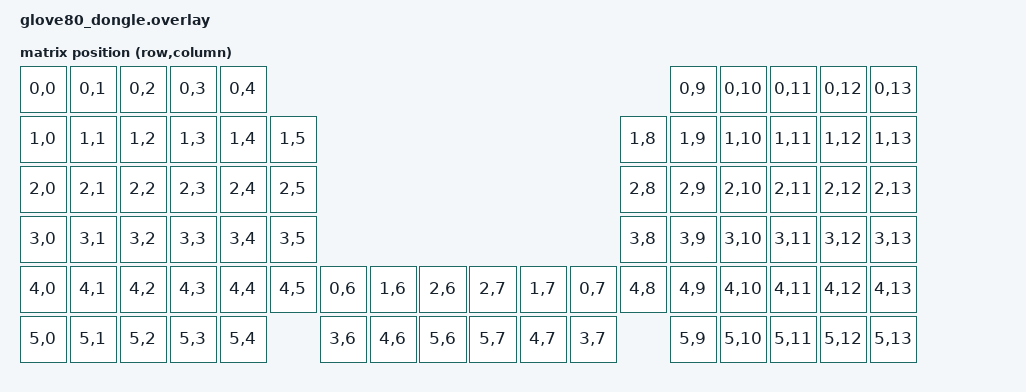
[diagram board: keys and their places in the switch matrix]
#include <dt-bindings/zmk/matrix_transform.h>
#include <dt-bindings/led/led.h>

/ {
    physical_layout0: physical_layout_0 {
        compatible = "zmk,physical-layout";
        display-name = "Default Layout";
        transform = <&default_transform>;
    };

    chosen {
        zmk,kscan = &mock_kscan;
        zmk,physical-layout = &physical_layout0;
        zmk,underglow = &dummy_led_strip;
        zmk,underglow-indicators = &underglow_indicators;
    };

    mock_kscan: mock_kscan_0 {
        compatible = "zmk,kscan-mock";
        columns = <0>;
        rows = <0>;
        events = <0>;
    };

    /* Dummy LED strip for central dongle RGB coordination */
    dummy_led_strip: ws2812_coordinator {
        compatible = "worldsemi,ws2812-spi";
        /* Minimal configuration for coordination only */
        reg = <0>; /* Required for SPI binding */
        chain-length = <80>; /* Combined LEDs from both halves */
        /* No actual SPI hardware - just for coordination */
    };


    default_transform: keymap_transform_0 {
        compatible = "zmk,matrix-transform";
        columns = <14>;
        rows = <6>;
        map = <
            RC(0,0) RC(0,1) RC(0,2) RC(0,3) RC(0,4)                                                                    RC(0,9) RC(0,10) RC(0,11) RC(0,12) RC(0,13)
            RC(1,0) RC(1,1) RC(1,2) RC(1,3) RC(1,4) RC(1,5)                                                    RC(1,8) RC(1,9) RC(1,10) RC(1,11) RC(1,12) RC(1,13)
            RC(2,0) RC(2,1) RC(2,2) RC(2,3) RC(2,4) RC(2,5)                                                    RC(2,8) RC(2,9) RC(2,10) RC(2,11) RC(2,12) RC(2,13)
            RC(3,0) RC(3,1) RC(3,2) RC(3,3) RC(3,4) RC(3,5)                                                    RC(3,8) RC(3,9) RC(3,10) RC(3,11) RC(3,12) RC(3,13)
            RC(4,0) RC(4,1) RC(4,2) RC(4,3) RC(4,4) RC(4,5) RC(0,6) RC(1,6) RC(2,6)   RC(2,7) RC(1,7)  RC(0,7) RC(4,8) RC(4,9) RC(4,10) RC(4,11) RC(4,12) RC(4,13)
            RC(5,0) RC(5,1) RC(5,2) RC(5,3) RC(5,4)         RC(3,6) RC(4,6) RC(5,6)   RC(5,7) RC(4,7)  RC(3,7)         RC(5,9) RC(5,10) RC(5,11) RC(5,12) RC(5,13)
        >;
    };

    underglow-layer {
        compatible = "zmk,underglow-layer";
        /* Combined pixel lookup for both halves: LH (0-39) + RH (40-79) */
        pixel-lookup = <52>, <53>, <54>, <69>, <70>, <71>, <15>, <27>, <39>, <51>, <4>,  <14>, <26>, <38>,
                    <50>, <68>, <3>,  <13>, <25>, <37>, <49>, <67>, <2>,  <12>, <24>, <36>, <48>, <66>,
                    <1>,  <11>, <23>, <35>, <47>, <65>, <0>,  <10>, <22>, <34>, <46>, <64>,
                    /* Right hand pixels (offset by 40) */
                    <97>, <96>, <95>, <114>, <113>, <112>, <56>, <68>, <80>, <98>, <45>, <57>, <69>, <81>,
                    <99>, <115>, <46>, <58>, <70>, <82>, <100>, <116>, <47>, <59>, <71>, <83>, <101>, <117>,
                    <48>, <60>, <72>, <84>, <102>, <118>, <49>, <61>, <73>, <85>, <103>, <119>;
    };

    /*
      Combined MoErgo LEDs (40 per half, 80 total)

      Left Half (0-39):                     Right Half (40-79):
      34 28 22 16 10                        34 28 22 16 10
      35 29 23 17 11 6                      35 29 23 17 11 6
      36 30 24 18 12 7                      36 30 24 18 12 7
      37 31 25 19 13 8                      37 31 25 19 13 8
      38 32 26 20 14 9                      38 32 26 20 14 9
      39 33 27 21 15                        39 33 27 21 15
                    0 1 2                              0 1 2
                    3 4 5                              3 4 5

      Central dongle coordinates both halves as a single 80-LED strip.
    */
    underglow_indicators: underglow-indicators {
        compatible = "zmk,underglow-indicators";
        layer-state = <35 29 23 17 11 6>; /* Left half layer indicators (0-39) */
        bat-lhs     = <36 30 24 18 12 7>; /* Left half battery (0-39) */
        bat-rhs     = <76 77 78 79 80 81>; /* Right half battery (40-79, offset by 40) */
        capslock    = <22>;
        numlock     = <16>;
        scrolllock  = <10>;
        ble-state   = <3 4 0 1>;
        usb-state   = <5>;
        output-fallback = <15>;
    };
};

/* SPI controller for dummy LED strip coordination */
&spi3 {
    compatible = "nordic,nrf-spim";
    status = "okay";
    pinctrl-0 = <&spi3_default>;
    pinctrl-1 = <&spi3_sleep>;
    pinctrl-names = "default", "sleep";
    #address-cells = <1>;
    #size-cells = <0>;
};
